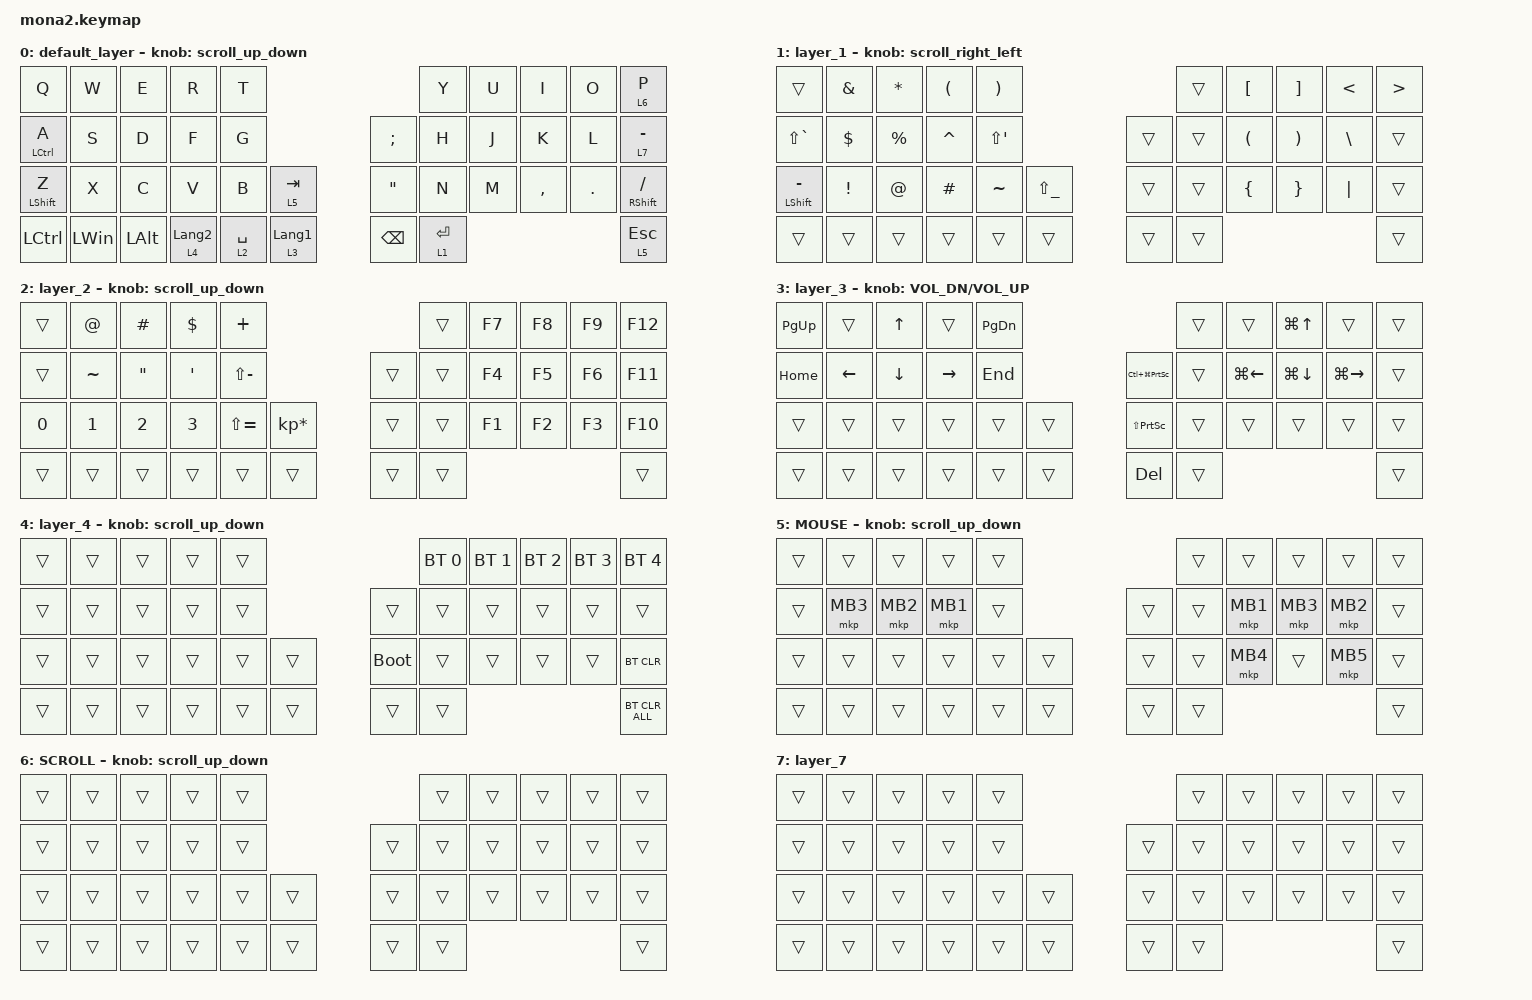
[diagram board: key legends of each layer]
#include <input/processors.dtsi>
#include <dt-bindings/zmk/input_transform.h>
#include <zephyr/dt-bindings/input/input-event-codes.h>
#include <behaviors.dtsi>
#include <dt-bindings/zmk/bt.h>
#include <dt-bindings/zmk/keys.h>
#include <dt-bindings/zmk/pointing.h>

#define ZMK_POINTING_DEFAULT_SCRL_VAL 100
#define MOUSE 5
#define SCROLL 6

&mt {
    flavor = "balanced";
    quick-tap-ms = <0>;
};

&lt {
    quick-tap-ms = <300>;
    flavor = "balanced";
};

/ {
    combos {
        compatible = "zmk,combos";

        layer4_ESC {
            bindings = <&lt 4 ESC>;
            key-positions = <39 38>;
        };

        tab {
            bindings = <&kp TAB>;
            key-positions = <11 12>;
        };
    };

    macros {
        to_layer_0: to_layer_0 {
            compatible = "zmk,behavior-macro-one-param";
            #binding-cells = <1>;
            bindings = <&to 0 &macro_param_1to1 &kp MACRO_PLACEHOLDER>;
            label = "TO_LAYER_0";
        };
    };

    behaviors {
        lt_to_layer_0: lt_to_layer_0 {
            compatible = "zmk,behavior-hold-tap";
            label = "LAYER_TAP_TO_0";
            bindings = <&mo>, <&to_layer_0>;

            #binding-cells = <2>;
            tapping-term-ms = <200>;
        };

        scroll_up_down: mouse_wheel_up_down {
            compatible = "zmk,behavior-sensor-rotate";
            #sensor-binding-cells = <0>;
            bindings = <&msc SCRL_DOWN>, <&msc SCRL_UP>;

            tap-ms = <20>;
        };

        scroll_right_left: mouse_wheel_right_left {
            compatible = "zmk,behavior-sensor-rotate";
            #sensor-binding-cells = <0>;
            bindings = <&msc SCRL_LEFT>, <&msc SCRL_RIGHT>;

            tap-ms = <20>;
        };
    };

    keymap {
        compatible = "zmk,keymap";

        default_layer {
            bindings = <
&kp Q               &kp W         &kp E     &kp R             &kp T                                                          &kp Y        &kp U  &kp I      &kp O    &lt 6 P
&mt LEFT_CONTROL A  &kp S         &kp D     &kp F             &kp G                                       &kp SEMICOLON      &kp H        &kp J  &kp K      &kp L    &lt 7 MINUS
&mt LEFT_SHIFT Z    &kp X         &kp C     &kp V             &kp B        &lt 5 TAB                      &kp DOUBLE_QUOTES  &kp N        &kp M  &kp COMMA  &kp DOT  &mt RIGHT_SHIFT SLASH
&kp LCTRL           &kp LEFT_WIN  &kp LALT  &lt 4 LANGUAGE_2  &lt 2 SPACE  &lt_to_layer_0 3 LANGUAGE_1    &kp BACKSPACE      &lt 1 ENTER                             &lt 5 ESCAPE
            >;

            sensor-bindings = <&scroll_up_down>;
        };

        layer_1 {
            bindings = <
&trans                &kp AMPS  &kp STAR   &kp LPAR   &kp RPAR                                   &trans  &kp LEFT_BRACKET  &kp RIGHT_BRACKET  &kp LT         &kp GT
&kp LS(GRAVE)         &kp DLLR  &kp PRCNT  &kp CARET  &kp LS(SQT)                        &trans  &trans  &kp LPAR          &kp RPAR           &kp BACKSLASH  &trans
&mt LEFT_SHIFT MINUS  &kp EXCL  &kp AT     &kp HASH   &kp TILDE    &kp LS(UNDERSCORE)    &trans  &trans  &kp LBRC          &kp RBRC           &kp PIPE       &trans
&trans                &trans    &trans     &trans     &trans       &trans                &trans  &trans                                                      &trans
            >;

            sensor-bindings = <&scroll_right_left>;
        };

        layer_2 {
            bindings = <
&trans        &kp AT_SIGN   &kp POUND          &kp DOLLAR    &kp PLUS                                  &trans  &kp F7  &kp F8  &kp F9  &kp F12
&trans        &kp TILDE     &kp DOUBLE_QUOTES  &kp SQT       &kp LS(MINUS)                     &trans  &trans  &kp F4  &kp F5  &kp F6  &kp F11
&kp NUMBER_0  &kp NUMBER_1  &kp NUMBER_2       &kp NUMBER_3  &kp LS(EQUAL)  &kp KP_MULTIPLY    &trans  &trans  &kp F1  &kp F2  &kp F3  &kp F10
&trans        &trans        &trans             &trans        &trans         &trans             &trans  &trans                          &trans
            >;

            sensor-bindings = <&scroll_up_down>;
        };

        layer_3 {
            bindings = <
&kp PAGE_UP  &trans          &kp UP_ARROW    &trans     &kp PAGE_DOWN                                     &trans  &trans              &kp LG(UP_ARROW)    &trans               &trans
&kp HOME     &kp LEFT_ARROW  &kp DOWN_ARROW  &kp RIGHT  &kp END                  &kp LC(LG(PRINTSCREEN))  &trans  &kp LG(LEFT_ARROW)  &kp LG(DOWN_ARROW)  &kp LG(RIGHT_ARROW)  &trans
&trans       &trans          &trans          &trans     &trans         &trans    &kp LS(PRINTSCREEN)      &trans  &trans              &trans              &trans               &trans
&trans       &trans          &trans          &trans     &trans         &trans    &kp DELETE               &trans                                                               &trans
            >;

            sensor-bindings = <&inc_dec_kp C_VOL_DN C_VOL_UP>;
        };

        layer_4 {
            bindings = <
&trans  &trans  &trans  &trans  &trans                         &bt BT_SEL 0  &bt BT_SEL 1  &bt BT_SEL 2  &bt BT_SEL 3  &bt BT_SEL 4
&trans  &trans  &trans  &trans  &trans            &trans       &trans        &trans        &trans        &trans        &trans
&trans  &trans  &trans  &trans  &trans  &trans    &bootloader  &trans        &trans        &trans        &trans        &bt BT_CLR
&trans  &trans  &trans  &trans  &trans  &trans    &trans       &trans                                                  &bt BT_CLR_ALL
            >;

            sensor-bindings = <&scroll_up_down>;
        };

        MOUSE {
            bindings = <
&trans  &trans    &trans    &trans    &trans                    &trans  &trans    &trans    &trans    &trans
&trans  &mkp MB3  &mkp MB2  &mkp MB1  &trans            &trans  &trans  &mkp MB1  &mkp MB3  &mkp MB2  &trans
&trans  &trans    &trans    &trans    &trans  &trans    &trans  &trans  &mkp MB4  &trans    &mkp MB5  &trans
&trans  &trans    &trans    &trans    &trans  &trans    &trans  &trans                                &trans
            >;

            sensor-bindings = <&scroll_up_down>;
        };

        SCROLL {
            bindings = <
&trans  &trans  &trans  &trans  &trans                    &trans  &trans  &trans  &trans  &trans
&trans  &trans  &trans  &trans  &trans            &trans  &trans  &trans  &trans  &trans  &trans
&trans  &trans  &trans  &trans  &trans  &trans    &trans  &trans  &trans  &trans  &trans  &trans
&trans  &trans  &trans  &trans  &trans  &trans    &trans  &trans                          &trans
            >;

            sensor-bindings = <&scroll_up_down>;
        };

        layer_7 {
            bindings = <
&trans  &trans  &trans  &trans  &trans                    &trans  &trans  &trans  &trans  &trans
&trans  &trans  &trans  &trans  &trans            &trans  &trans  &trans  &trans  &trans  &trans
&trans  &trans  &trans  &trans  &trans  &trans    &trans  &trans  &trans  &trans  &trans  &trans
&trans  &trans  &trans  &trans  &trans  &trans    &trans  &trans                          &trans
            >;
        };
    };
};
